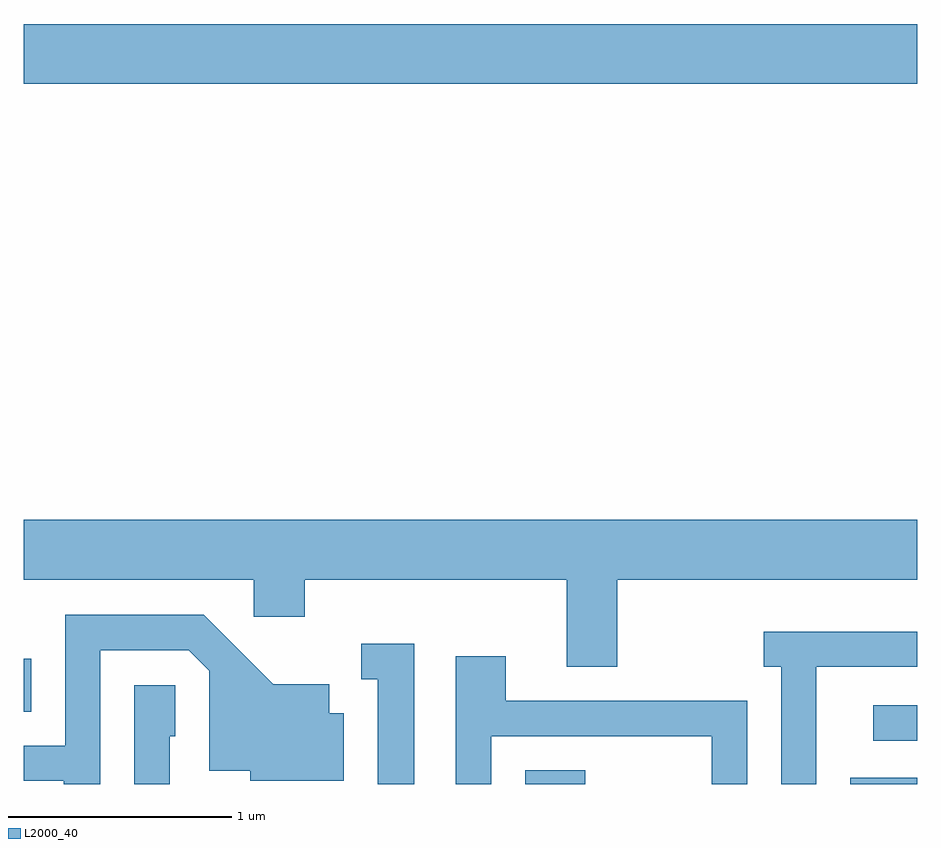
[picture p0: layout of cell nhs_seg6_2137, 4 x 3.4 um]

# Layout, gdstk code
import gdstk
lib = gdstk.Library(unit=1e-6, precision=1e-09)
def R(c, l, rs):  # rectangles x0, y0, x1, y1
    for r in rs: c.add(gdstk.rectangle(r[:2], r[2:], *l))
def P(c, l, *ps):  # polygons
    for p in ps: c.add(gdstk.Polygon(p, *l))
L2000_40 = (2000, 40)

nhs_seg6_2137 = lib.new_cell('nhs_seg6_2137')
R(nhs_seg6_2137, L2000_40, [(251.856,1620.162,252.124,1620.224), (253.311,1620.162,253.611,1620.189), (253.413,1620.356,253.611,1620.514), (249.611,1620.486,249.644,1620.723), (249.611,1623.296,253.611,1623.564)])
P(nhs_seg6_2137, L2000_40, [(252.269,1621.076),(253.611,1621.076),(253.611,1621.344),(249.611,1621.344),(249.611,1621.076),(250.641,1621.076),(250.641,1620.911),(250.869,1620.911),(250.869,1621.076),(252.041,1621.076),(252.041,1620.686),(252.269,1620.686)],
  [(249.954,1620.761),(250.349,1620.761),(250.441,1620.669),(250.441,1620.221),(250.626,1620.221),(250.626,1620.176),(251.044,1620.176),(251.044,1620.479),(250.979,1620.479),(250.979,1620.609),(250.727,1620.609),(250.417,1620.919),(249.796,1620.919),(249.796,1620.334),(249.611,1620.334),(249.611,1620.176),(249.791,1620.176),(249.791,1620.162),(249.954,1620.162)],
  [(253.159,1620.686),(253.611,1620.686),(253.611,1620.844),(252.923,1620.844),(252.923,1620.686),(253.001,1620.686),(253.001,1620.162),(253.159,1620.162)],
  [(251.359,1620.789),(251.123,1620.789),(251.123,1620.631),(251.196,1620.631),(251.196,1620.162),(251.359,1620.162)],
  [(251.704,1620.376),(252.691,1620.376),(252.691,1620.162),(252.849,1620.162),(252.849,1620.534),(251.769,1620.534),(251.769,1620.734),(251.546,1620.734),(251.546,1620.162),(251.704,1620.162)],
  [(250.264,1620.376),(250.289,1620.376),(250.289,1620.604),(250.106,1620.604),(250.106,1620.162),(250.264,1620.162)])

lib.write_gds('nhs_seg6_2137.gds')
